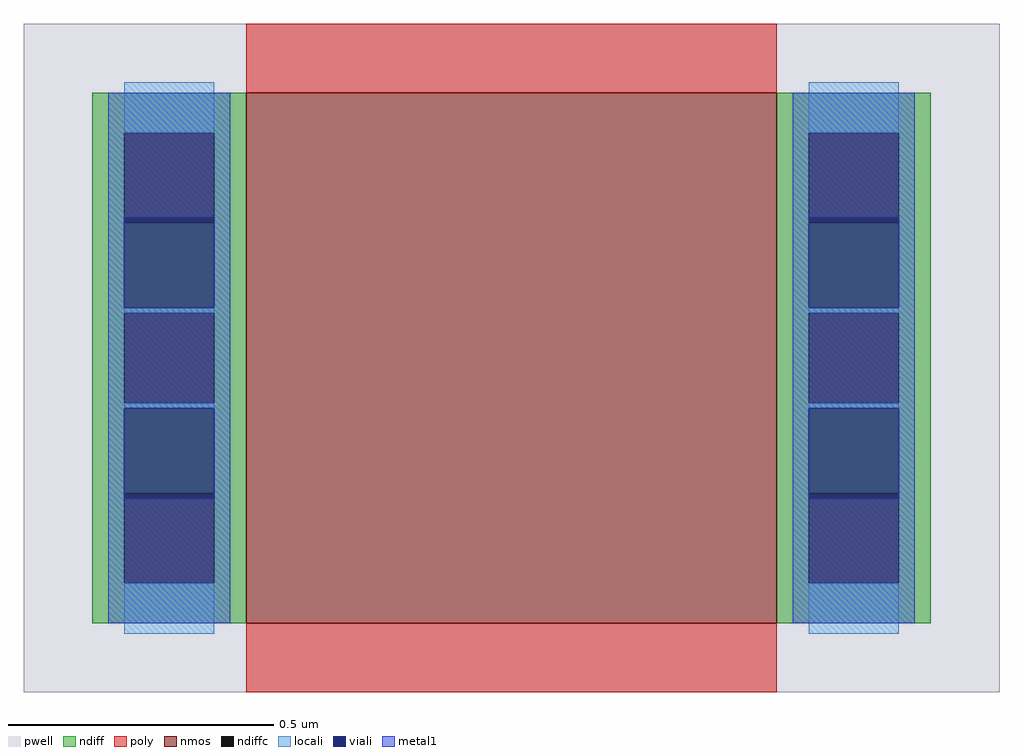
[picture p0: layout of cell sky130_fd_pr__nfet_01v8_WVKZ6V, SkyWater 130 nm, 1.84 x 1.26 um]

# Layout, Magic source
magic
tech sky130A
magscale 1 2
<< pwell >>
rect -184 -126 184 126
<< nmos >>
rect -100 -100 100 100
<< ndiff >>
rect -158 85 -100 100
rect -158 51 -146 85
rect -112 51 -100 85
rect -158 17 -100 51
rect -158 -17 -146 17
rect -112 -17 -100 17
rect -158 -51 -100 -17
rect -158 -85 -146 -51
rect -112 -85 -100 -51
rect -158 -100 -100 -85
rect 100 85 158 100
rect 100 51 112 85
rect 146 51 158 85
rect 100 17 158 51
rect 100 -17 112 17
rect 146 -17 158 17
rect 100 -51 158 -17
rect 100 -85 112 -51
rect 146 -85 158 -51
rect 100 -100 158 -85
<< ndiffc >>
rect -146 51 -112 85
rect -146 -17 -112 17
rect -146 -85 -112 -51
rect 112 51 146 85
rect 112 -17 146 17
rect 112 -85 146 -51
<< poly >>
rect -100 100 100 126
rect -100 -126 100 -100
<< locali >>
rect -146 85 -112 104
rect -146 17 -112 19
rect -146 -19 -112 -17
rect -146 -104 -112 -85
rect 112 85 146 104
rect 112 17 146 19
rect 112 -19 146 -17
rect 112 -104 146 -85
<< viali >>
rect -146 51 -112 53
rect -146 19 -112 51
rect -146 -51 -112 -19
rect -146 -53 -112 -51
rect 112 51 146 53
rect 112 19 146 51
rect 112 -51 146 -19
rect 112 -53 146 -51
<< metal1 >>
rect -152 53 -106 100
rect -152 19 -146 53
rect -112 19 -106 53
rect -152 -19 -106 19
rect -152 -53 -146 -19
rect -112 -53 -106 -19
rect -152 -100 -106 -53
rect 106 53 152 100
rect 106 19 112 53
rect 146 19 152 53
rect 106 -19 152 19
rect 106 -53 112 -19
rect 146 -53 152 -19
rect 106 -100 152 -53
<< end >>
